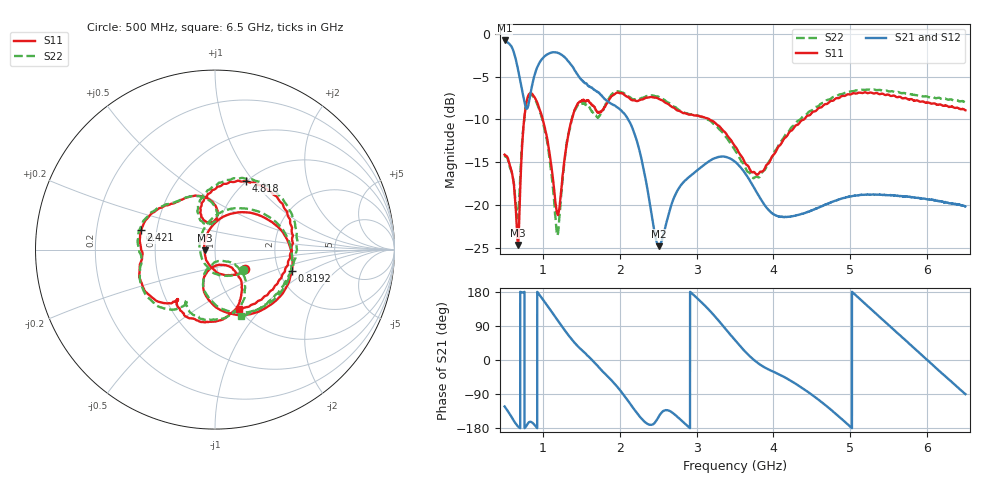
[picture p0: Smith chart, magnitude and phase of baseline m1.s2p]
# Hz S DB R 50
! CMT, S5065, 24347010, 24.3.4/3
! Date: 10/15/2024 11:18:17 AM
! Data: Format (Calibration Info)
! Freq	S11:dB/Ang(F2)	S21:dB/Ang(F2)	S12:dB/Ang(F2)	S22:dB/Ang(F2)
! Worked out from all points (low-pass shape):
!   10001 points, 500 MHz to 6.5 GHz, reference 50 ohm
!   highest |S21| = -0.79 dB at 500 MHz (marker M1); lowest = -24.8 dB at 2.51 GHz (marker M2)
!   |S21| within 3 dB of the highest: start of sweep to 665.7 MHz; 931.1 MHz to 1.38 GHz (448.7 MHz wide, 38.8 % of centre)
!   lowest |S11| = -24.7 dB at 674.6 MHz (marker M3), VSWR 1.12, Z = 44.5 - j0.267 ohm
!   |S11| at or under -10 dB: start of sweep to 754.4 MHz; 996.7 MHz to 1.376 GHz (379.5 MHz wide, 32 % of centre); 3.166 GHz to 4.402 GHz (1.236 GHz wide, 32.7 % of centre)
!   |S22| runs from -23.6 to -6.5 dB; largest |S21 - S12| = 0.0038
!   S11 on the Smith chart (normalised r, x): 500 MHz: 1.36, -0.30; 819.2 MHz: 2.36, -0.69; 2.421 GHz: 0.41, +0.11; 4.818 GHz: 0.99, +0.92; 6.5 GHz: 1.01, -0.77
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5e8  -14.13 -33.1  -0.79 -122.7  -0.78 -122.7  -14.19 -35.9
5.984e8  -16.37 -69.1  -1.66 -153.1  -1.66 -153.1  -16.42 -74.9
6.746e8  -24.67 -177.1  -4.16 -175.4  -4.16 -175.4  -21.36 178.9
7.454e8  -10.87 45.7  -7.41 178.5  -7.41 178.5  -10.78 51.9
8.192e8  -7.05 -15.2  -7.90 -163.8  -7.89 -163.8  -7.22 -11.4
8.984e8  -7.56 -56.9  -4.59 -173.3  -4.57 -173.3  -7.73 -54.3
1.0004e9  -10.12 -91.2  -2.83 159.0  -2.82 159.1  -10.38 -90.6
1.1864e9  -21.03 -85.6  -2.21 106.1  -2.22 106.1  -23.57 -77.2
1.3256e9  -11.99 -53.5  -3.19 67.0  -3.20 67.0  -11.86 -48.1
1.5002e9  -7.82 -95.8  -5.40 27.3  -5.38 27.3  -8.12 -92.9
1.9622e9  -6.88 -148.9  -8.58 -69.5  -8.57 -69.6  -6.73 -145.2
2.189e9  -7.80 -174.8  -11.62 -130.8  -11.62 -130.8  -7.65 -171.8
2.4212e9  -7.40 165.0  -21.53 -170.5  -21.55 -170.8  -7.19 167.0
2.5004e9  -7.58 156.3  -24.74 -151.9  -24.75 -152.1  -7.35 157.8
2.51e9  -7.63 155.2  -24.83 -148.4  -24.81 -148.6  -7.40 157.0
2.828e9  -9.28 131.0  -17.36 -164.2  -17.37 -164.6  -9.17 131.1
3.5e9  -13.14 86.5  -14.96 52.4  -14.97 52.1  -13.63 86.9
3.8096e9  -16.34 100.6  -18.92 -9.7  -18.94 -10.1  -16.80 106.2
4.5002e9  -9.26 88.5  -20.64 -91.7  -20.65 -92.2  -8.97 90.1
4.8182e9  -7.54 65.8  -19.49 -143.1  -19.49 -143.4  -7.31 66.2
5.5004e9  -7.13 9.9  -18.87 92.2  -18.90 91.8  -6.74 9.6
6.5e9  -8.94 -68.7  -20.16 -90.1  -20.20 -89.5  -8.03 -68.7
